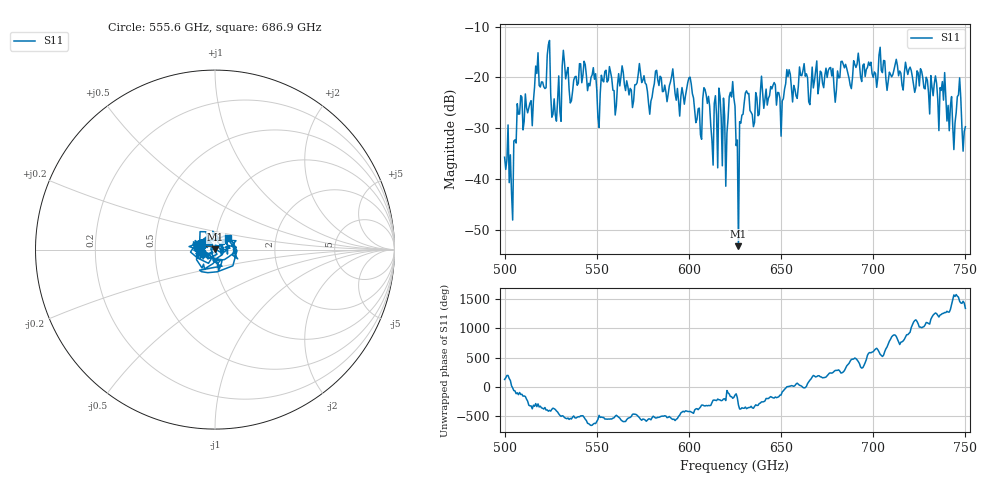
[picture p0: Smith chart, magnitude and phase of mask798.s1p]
!Created with skrf (http://scikit-rf.org).
# GHz S MA R 50.0
!freq magS11 angS11
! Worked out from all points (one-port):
!   401 points, 500 GHz to 750 GHz, reference 50 ohm
!   lowest |S11| = -53.2 dB at 626.9 GHz (marker M1), VSWR 1.00, Z = 50.2 + j0.15 ohm
!   |S11| at or under -10 dB: start of sweep to end of sweep
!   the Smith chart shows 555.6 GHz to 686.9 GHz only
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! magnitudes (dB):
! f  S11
! 500 GHz  -35.7
! 503.8 GHz  -42.7
! 508.1 GHz  -27.2
! 513.8 GHz  -25.1
! 517.5 GHz  -19.2
! 523.8 GHz  -13.6
! 526.9 GHz  -24.2
! 531.2 GHz  -17.8
! 548.1 GHz  -18.1
! 551.2 GHz  -29.8
! 562.5 GHz  -21.7
! 593.8 GHz  -22.2
! 600.6 GHz  -19.9
! 605.6 GHz  -26.0
! 609.4 GHz  -23.4
! 619.4 GHz  -27.6
! 623.1 GHz  -23.9
! 625 GHz  -25.7
! 626.9 GHz  -53.2
! 631.2 GHz  -22.6
! 634.4 GHz  -27.3
! 656.2 GHz  -24.8
! 687.5 GHz  -21.5
! 718.8 GHz  -19.4
! 737.5 GHz  -20.8
! 742.5 GHz  -23.8
! 746.2 GHz  -23.4
! 750 GHz  -29.7
